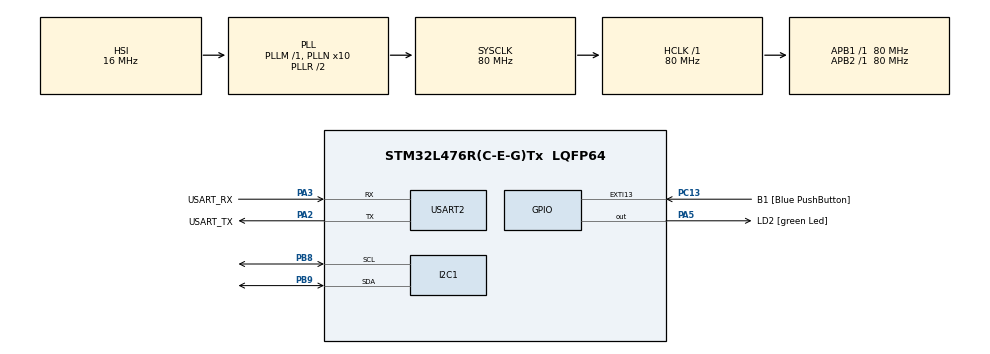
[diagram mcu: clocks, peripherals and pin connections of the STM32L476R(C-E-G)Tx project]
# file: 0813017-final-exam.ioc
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I2C1.Timing=0x10909CEC
Mcu.Family=STM32L4
Mcu.Name=STM32L476R(C-E-G)Tx
Mcu.Package=LQFP64
NVIC.PriorityGroup=NVIC_PRIORITYGROUP_4
NVIC.USART2_IRQn=true\:0\:0\:false\:false\:true\:true\:true\:true
PA13\ (JTMS-SWDIO).GPIO_Label=TMS
PA13\ (JTMS-SWDIO).Mode=Serial_Wire
PA13\ (JTMS-SWDIO).Signal=SYS_JTMS-SWDIO
PA14\ (JTCK-SWCLK).GPIO_Label=TCK
PA14\ (JTCK-SWCLK).Mode=Serial_Wire
PA14\ (JTCK-SWCLK).Signal=SYS_JTCK-SWCLK
PA2.GPIO_Label=USART_TX
PA2.GPIO_Mode=GPIO_MODE_AF_PP
PA2.GPIO_PuPd=GPIO_NOPULL
PA2.GPIO_Speed=GPIO_SPEED_FREQ_VERY_HIGH
PA2.Mode=Asynchronous
PA2.Signal=USART2_TX
PA3.GPIO_Label=USART_RX
PA3.GPIO_Mode=GPIO_MODE_AF_PP
PA3.GPIO_PuPd=GPIO_NOPULL
PA3.GPIO_Speed=GPIO_SPEED_FREQ_VERY_HIGH
PA3.Mode=Asynchronous
PA3.Signal=USART2_RX
PA5.GPIO_Label=LD2 [green Led]
PA5.GPIO_ModeDefaultOutputPP=GPIO_MODE_OUTPUT_PP
PA5.GPIO_PuPd=GPIO_NOPULL
PA5.GPIO_Speed=GPIO_SPEED_FREQ_LOW
PA5.Signal=GPIO_Output
PB3\ (JTDO-TRACESWO).GPIO_Label=SWO
PB3\ (JTDO-TRACESWO).Signal=SYS_JTDO-SWO
PB8.Mode=I2C
PB8.Signal=I2C1_SCL
PB9.Mode=I2C
PB9.Signal=I2C1_SDA
PC13.GPIO_Label=B1 [Blue PushButton]
PC13.GPIO_ModeDefaultEXTI=GPIO_MODE_IT_FALLING
PC13.GPIO_PuPd=GPIO_NOPULL
PC13.Signal=GPXTI13
PC14-OSC32_IN\ (PC14).Mode=LSE-External-Oscillator
PC14-OSC32_IN\ (PC14).Signal=RCC_OSC32_IN
PC15-OSC32_OUT\ (PC15).Mode=LSE-External-Oscillator
PC15-OSC32_OUT\ (PC15).Signal=RCC_OSC32_OUT
PH0-OSC_IN\ (PH0).Signal=RCC_OSC_IN
PH1-OSC_OUT\ (PH1).Signal=RCC_OSC_OUT
ProjectManager.HeapSize=0x200
ProjectManager.StackSize=0x400
ProjectManager.TargetToolchain=STM32CubeIDE
RCC.ADCFreq_Value=64000000
RCC.AHBFreq_Value=80000000
RCC.APB1Freq_Value=80000000
RCC.APB1TimFreq_Value=80000000
RCC.APB2Freq_Value=80000000
RCC.APB2TimFreq_Value=80000000
RCC.CortexFreq_Value=80000000
RCC.HCLKFreq_Value=80000000
RCC.HSE_VALUE=8000000
RCC.HSI_VALUE=16000000
RCC.MSI_VALUE=4000000
RCC.PLLN=10
RCC.PLLSourceVirtual=RCC_PLLSOURCE_HSI
RCC.PREFETCH_ENABLE=1
RCC.SYSCLKFreq_VALUE=80000000
RCC.SYSCLKSource=RCC_SYSCLKSOURCE_PLLCLK
RCC.USBFreq_Value=64000000
RCC.VCOOutputFreq_Value=160000000
USART2.VirtualMode-Asynchronous=VM_ASYNC
board=NUCLEO-L476RG

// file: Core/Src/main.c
/* USER CODE BEGIN Header */
/**
  ******************************************************************************
  * @file           : main.c
  * @brief          : Main program body
  ******************************************************************************
  * @attention
  *
  * Copyright (c) 2023 STMicroelectronics.
  * All rights reserved.
  *
  * This software is licensed under terms that can be found in the LICENSE file
  * in the root directory of this software component.
  * If no LICENSE file comes with this software, it is provided AS-IS.
  *
  ******************************************************************************
  */
/* USER CODE END Header */
#include "main.h"

/* USER CODE BEGIN Includes */
#include <string.h>
#include "ssd1306.h"
#include "ssd1306_fonts.h"
#include "ring_buffer.h"

/* USER CODE END Includes */

I2C_HandleTypeDef hi2c1;

UART_HandleTypeDef huart2;

/* USER CODE BEGIN PV */
const uint8_t expected_id[] = "0813017";
uint8_t failed_counter = 0;

uint8_t rx_data;
uint8_t rx_buffer[7];
ring_buffer_t rx_rb;

/* USER CODE END PV */

void SystemClock_Config(void);
static void MX_GPIO_Init(void);
static void MX_USART2_UART_Init(void);
static void MX_I2C1_Init(void);

/* USER CODE BEGIN 0 */
void print_string(const char *string)
{
	ssd1306_SetCursor(10, 20);
	ssd1306_WriteString((char *)string, Font_16x26, White);
	ssd1306_UpdateScreen();
}

void run_data_validation(void)
{
	uint8_t received_id[7];
	for (uint8_t idx = 0; idx < 7; idx++) {
		ring_buffer_get(&rx_rb, &received_id[idx]);
	}
	if (memcmp(expected_id, received_id, 7) == 0) {
		/* 3.1 -> Show "Success" if the string is correct */
		print_string("Success");
		failed_counter = 0; // reset the failure counter if success
		HAL_Delay(3*1000);
	} else {
		failed_counter++;
		if (failed_counter < 3) {
			/* 3.2 -> Show "Failed" if the string is incorrect */
			print_string("Failed ");
			HAL_Delay(3*1000);
		} else {
			/* 4 -> Show "Blocked" if the string is incorrect 3 times */
			print_string("Blocked");
			failed_counter = 0;
			HAL_Delay(10*1000);
		}
	}
}

void HAL_UART_RxCpltCallback(UART_HandleTypeDef *huart)
{
	ring_buffer_put(&rx_rb, rx_data);
	HAL_UART_Receive_IT(&huart2, &rx_data, 1);
}

/* USER CODE END 0 */

int main(void)
{

  /* MCU Configuration--------------------------------------------------------*/

  /* Reset of all peripherals, Initializes the Flash interface and the Systick. */
  HAL_Init();

  /* Configure the system clock */
  SystemClock_Config();

  /* Initialize all configured peripherals */
  MX_GPIO_Init();
  MX_USART2_UART_Init();
  MX_I2C1_Init();
  /* USER CODE BEGIN 2 */
  ssd1306_Init();
  ssd1306_Fill(Black);
  ring_buffer_init(&rx_rb, rx_buffer, 7);
  HAL_UART_Receive_IT(&huart2, &rx_data, 1);

  /* USER CODE END 2 */

  /* Infinite loop */
  /* USER CODE BEGIN WHILE */
  while (1)
  {
	/* 1 -> Show "Waiting" by default */
	print_string("Waiting");
	/* 2 -> Wait for a 7-bytes command to be received */
	while (ring_buffer_is_full(&rx_rb) == 0) {/* Wait */}
	run_data_validation();
    /* USER CODE END WHILE */

  }
}

void SystemClock_Config(void)
{
  RCC_OscInitTypeDef RCC_OscInitStruct = {0};
  RCC_ClkInitTypeDef RCC_ClkInitStruct = {0};

  /** Configure the main internal regulator output voltage
  */
  if (HAL_PWREx_ControlVoltageScaling(PWR_REGULATOR_VOLTAGE_SCALE1) != HAL_OK)
  {
    Error_Handler();
  }

  /** Initializes the RCC Oscillators according to the specified parameters
  * in the RCC_OscInitTypeDef structure.
  */
  RCC_OscInitStruct.OscillatorType = RCC_OSCILLATORTYPE_HSI;
  RCC_OscInitStruct.HSIState = RCC_HSI_ON;
  RCC_OscInitStruct.HSICalibrationValue = RCC_HSICALIBRATION_DEFAULT;
  RCC_OscInitStruct.PLL.PLLState = RCC_PLL_ON;
  RCC_OscInitStruct.PLL.PLLSource = RCC_PLLSOURCE_HSI;
  RCC_OscInitStruct.PLL.PLLM = 1;
  RCC_OscInitStruct.PLL.PLLN = 10;
  RCC_OscInitStruct.PLL.PLLP = RCC_PLLP_DIV7;
  RCC_OscInitStruct.PLL.PLLQ = RCC_PLLQ_DIV2;
  RCC_OscInitStruct.PLL.PLLR = RCC_PLLR_DIV2;
  if (HAL_RCC_OscConfig(&RCC_OscInitStruct) != HAL_OK)
  {
    Error_Handler();
  }

  /** Initializes the CPU, AHB and APB buses clocks
  */
  RCC_ClkInitStruct.ClockType = RCC_CLOCKTYPE_HCLK|RCC_CLOCKTYPE_SYSCLK
                              |RCC_CLOCKTYPE_PCLK1|RCC_CLOCKTYPE_PCLK2;
  RCC_ClkInitStruct.SYSCLKSource = RCC_SYSCLKSOURCE_PLLCLK;
  RCC_ClkInitStruct.AHBCLKDivider = RCC_SYSCLK_DIV1;
  RCC_ClkInitStruct.APB1CLKDivider = RCC_HCLK_DIV1;
  RCC_ClkInitStruct.APB2CLKDivider = RCC_HCLK_DIV1;

  if (HAL_RCC_ClockConfig(&RCC_ClkInitStruct, FLASH_LATENCY_4) != HAL_OK)
  {
    Error_Handler();
  }
}

static void MX_I2C1_Init(void)
{

  hi2c1.Instance = I2C1;
  hi2c1.Init.Timing = 0x10909CEC;
  hi2c1.Init.OwnAddress1 = 0;
  hi2c1.Init.AddressingMode = I2C_ADDRESSINGMODE_7BIT;
  hi2c1.Init.DualAddressMode = I2C_DUALADDRESS_DISABLE;
  hi2c1.Init.OwnAddress2 = 0;
  hi2c1.Init.OwnAddress2Masks = I2C_OA2_NOMASK;
  hi2c1.Init.GeneralCallMode = I2C_GENERALCALL_DISABLE;
  hi2c1.Init.NoStretchMode = I2C_NOSTRETCH_DISABLE;
  if (HAL_I2C_Init(&hi2c1) != HAL_OK)
  {
    Error_Handler();
  }

  /** Configure Analogue filter
  */
  if (HAL_I2CEx_ConfigAnalogFilter(&hi2c1, I2C_ANALOGFILTER_ENABLE) != HAL_OK)
  {
    Error_Handler();
  }

  /** Configure Digital filter
  */
  if (HAL_I2CEx_ConfigDigitalFilter(&hi2c1, 0) != HAL_OK)
  {
    Error_Handler();
  }

}

static void MX_USART2_UART_Init(void)
{

  huart2.Instance = USART2;
  huart2.Init.BaudRate = 115200;
  huart2.Init.WordLength = UART_WORDLENGTH_8B;
  huart2.Init.StopBits = UART_STOPBITS_1;
  huart2.Init.Parity = UART_PARITY_NONE;
  huart2.Init.Mode = UART_MODE_TX_RX;
  huart2.Init.HwFlowCtl = UART_HWCONTROL_NONE;
  huart2.Init.OverSampling = UART_OVERSAMPLING_16;
  huart2.Init.OneBitSampling = UART_ONE_BIT_SAMPLE_DISABLE;
  huart2.AdvancedInit.AdvFeatureInit = UART_ADVFEATURE_NO_INIT;
  if (HAL_UART_Init(&huart2) != HAL_OK)
  {
    Error_Handler();
  }

}

static void MX_GPIO_Init(void)
{
  GPIO_InitTypeDef GPIO_InitStruct = {0};

  /* GPIO Ports Clock Enable */
  __HAL_RCC_GPIOC_CLK_ENABLE();
  __HAL_RCC_GPIOH_CLK_ENABLE();
  __HAL_RCC_GPIOA_CLK_ENABLE();
  __HAL_RCC_GPIOB_CLK_ENABLE();

  /*Configure GPIO pin Output Level */
  HAL_GPIO_WritePin(LD2_GPIO_Port, LD2_Pin, GPIO_PIN_RESET);

  /*Configure GPIO pin : B1_Pin */
  GPIO_InitStruct.Pin = B1_Pin;
  GPIO_InitStruct.Mode = GPIO_MODE_IT_FALLING;
  GPIO_InitStruct.Pull = GPIO_NOPULL;
  HAL_GPIO_Init(B1_GPIO_Port, &GPIO_InitStruct);

  /*Configure GPIO pin : LD2_Pin */
  GPIO_InitStruct.Pin = LD2_Pin;
  GPIO_InitStruct.Mode = GPIO_MODE_OUTPUT_PP;
  GPIO_InitStruct.Pull = GPIO_NOPULL;
  GPIO_InitStruct.Speed = GPIO_SPEED_FREQ_LOW;
  HAL_GPIO_Init(LD2_GPIO_Port, &GPIO_InitStruct);

}

void Error_Handler(void)
{
  __disable_irq();
  while (1)
  {
  }
}
